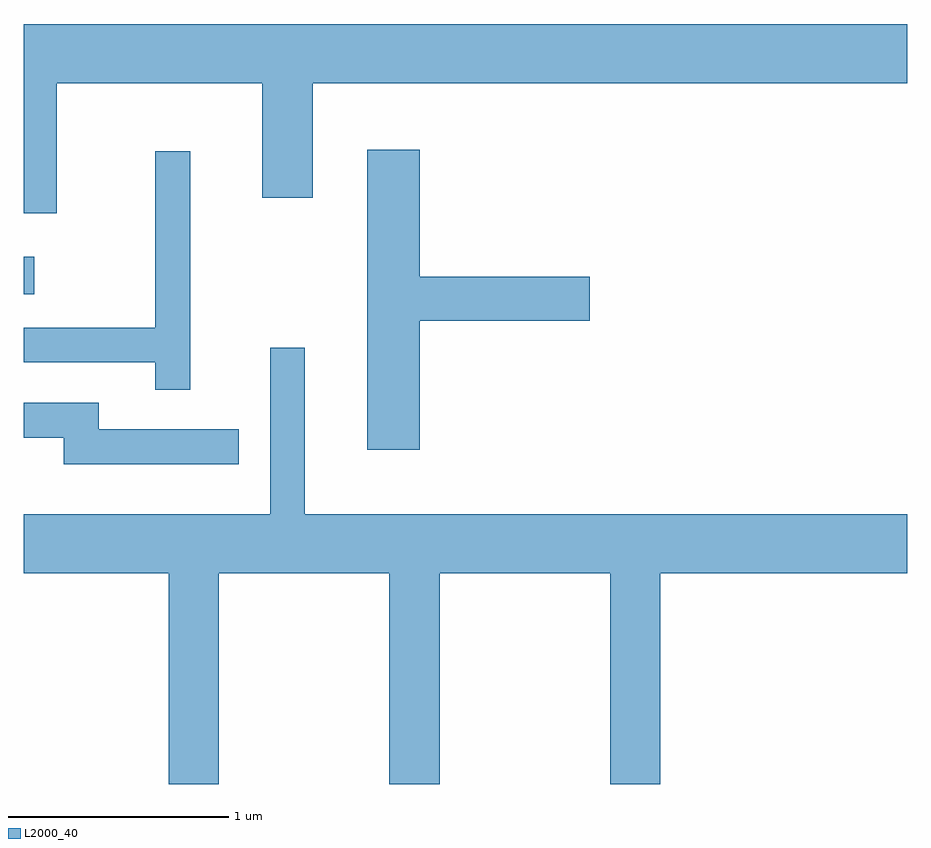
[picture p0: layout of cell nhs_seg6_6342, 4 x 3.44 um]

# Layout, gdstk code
import gdstk
lib = gdstk.Library(unit=1e-6, precision=1e-09)
def R(c, l, rs):  # rectangles x0, y0, x1, y1
    for r in rs: c.add(gdstk.rectangle(r[:2], r[2:], *l))
def P(c, l, *ps):  # polygons
    for p in ps: c.add(gdstk.Polygon(p, *l))
L2000_40 = (2000, 40)

nhs_seg6_6342 = lib.new_cell('nhs_seg6_6342')
R(nhs_seg6_6342, L2000_40, [(377.611,1582.381,377.658,1582.549)])
P(nhs_seg6_6342, L2000_40, [(377.759,1583.336),(378.691,1583.336),(378.691,1582.816),(378.919,1582.816),(378.919,1583.336),(381.611,1583.336),(381.611,1583.604),(377.611,1583.604),(377.611,1582.746),(377.759,1582.746)],
  [(379.404,1582.261),(380.174,1582.261),(380.174,1582.459),(379.404,1582.459),(379.404,1583.034),(379.166,1583.034),(379.166,1581.676),(379.404,1581.676)],
  [(378.364,1583.028),(378.206,1583.028),(378.206,1582.229),(377.611,1582.229),(377.611,1582.071),(378.206,1582.071),(378.206,1581.948),(378.364,1581.948)],
  [(378.494,1581.116),(379.266,1581.116),(379.266,1580.162),(379.494,1580.162),(379.494,1581.116),(380.266,1581.116),(380.266,1580.162),(380.494,1580.162),(380.494,1581.116),(381.611,1581.116),(381.611,1581.384),(378.884,1581.384),(378.884,1582.138),(378.726,1582.138),(378.726,1581.384),(377.611,1581.384),(377.611,1581.116),(378.266,1581.116),(378.266,1580.162),(378.494,1580.162)],
  [(378.583,1581.769),(377.949,1581.769),(377.949,1581.889),(377.611,1581.889),(377.611,1581.731),(377.791,1581.731),(377.791,1581.611),(378.583,1581.611)])

lib.write_gds('nhs_seg6_6342.gds')
